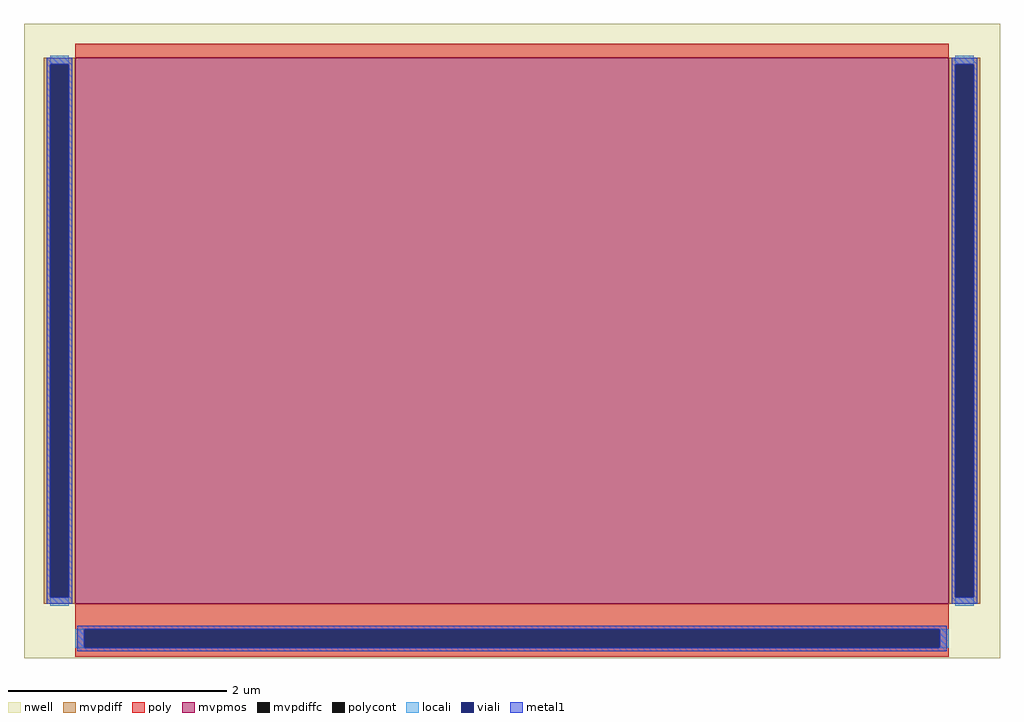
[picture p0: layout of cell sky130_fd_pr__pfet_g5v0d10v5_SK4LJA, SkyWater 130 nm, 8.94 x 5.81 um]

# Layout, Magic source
magic
tech sky130A
magscale 1 2
<< nwell >>
rect -894 -564 894 598
<< mvpmos >>
rect -800 -464 800 536
<< mvpdiff >>
rect -858 524 -800 536
rect -858 -452 -846 524
rect -812 -452 -800 524
rect -858 -464 -800 -452
rect 800 524 858 536
rect 800 -452 812 524
rect 846 -452 858 524
rect 800 -464 858 -452
<< mvpdiffc >>
rect -846 -452 -812 524
rect 812 -452 846 524
<< poly >>
rect -800 536 800 562
rect -800 -511 800 -464
rect -800 -545 -784 -511
rect 784 -545 800 -511
rect -800 -561 800 -545
<< polycont >>
rect -784 -545 784 -511
<< locali >>
rect -846 524 -812 540
rect -846 -468 -812 -452
rect 812 524 846 540
rect 812 -468 846 -452
rect -800 -545 -784 -511
rect 784 -545 800 -511
<< viali >>
rect -846 -452 -812 524
rect 812 -452 846 524
rect -784 -545 784 -511
<< metal1 >>
rect -852 524 -806 536
rect -852 -452 -846 524
rect -812 -452 -806 524
rect -852 -464 -806 -452
rect 806 524 852 536
rect 806 -452 812 524
rect 846 -452 852 524
rect 806 -464 852 -452
rect -796 -511 796 -505
rect -796 -545 -784 -511
rect 784 -545 796 -511
rect -796 -551 796 -545
<< properties >>
string gencell sky130_fd_pr__pfet_g5v0d10v5
string library sky130
string parameters w 5 l 8 m 1 nf 1 diffcov 100 polycov 100 guard 0 glc 1 grc 1 gtc 1 gbc 1 tbcov 100 rlcov 100 topc 0 botc 1 poverlap 0 doverlap 1 lmin 0.15 wmin 0.42 compatible {sky130_fd_pr__pfet_01v8  sky130_fd_pr__pfet_01v8_lvt sky130_fd_pr__pfet_01v8_hvt  sky130_fd_pr__pfet_g5v0d10v5} full_metal 1 viasrc 100 viadrn 100 viagate 100 viagb 0 viagr 0 viagl 0 viagt 0
<< end >>
